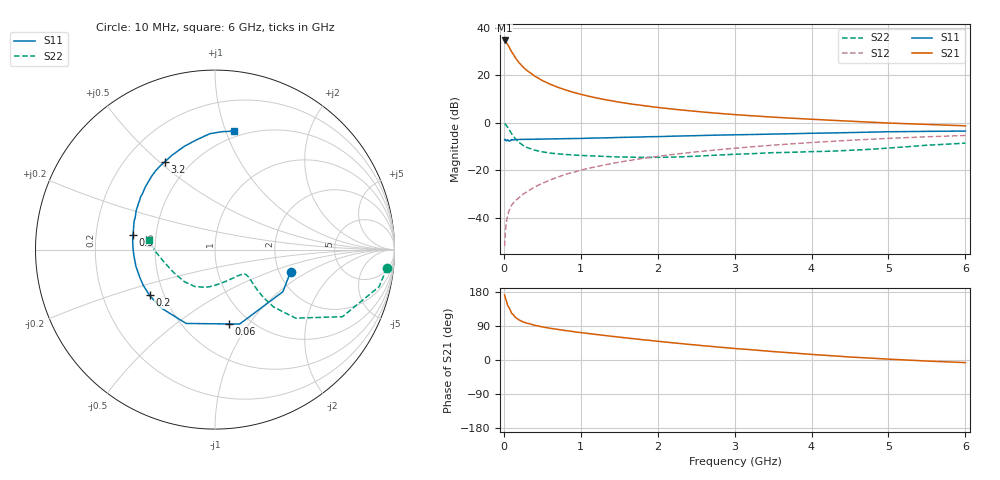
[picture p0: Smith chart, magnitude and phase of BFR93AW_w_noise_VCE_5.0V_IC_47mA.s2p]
! Infineon Technologies  Discrete & RF Semiconductors
! BFR93AW
! VCE =  5.0 V,  IC =  47 mA
! Common Emitter S-Parameters:  Jan 2017
# GHz  S  MA  R  50
!  f  S11  S21  S12  S22
! GHz  MAG  ANG  MAG  ANG  MAG  ANG  MAG  ANG
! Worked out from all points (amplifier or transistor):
!   77 points, 10 MHz to 6 GHz, reference 50 ohm
!   highest |S21| = 34.7 dB at 10 MHz (marker M1)
!   |S21| within 3 dB of that: start of sweep to 71.91 MHz
!   unconditionally stable (mu >= 1): 479.8 MHz to 2.045 GHz
!   at 130 MHz: K = 0.60, MSG = 31.0 dB, |S12| = -33.6 dB
!   at 2.2 GHz: K = 0.99, MSG = 9.6 dB, |S12| = -13.4 dB
!   at 6 GHz: K = 0.89, MSG = 2.0 dB, |S12| = -5.4 dB
!   lowest NFmin = 2.21 dB at 450 MHz
!   S11 on the Smith chart (normalised r, x): 10 MHz: 2.31, -0.70; 60 MHz: 0.80, -0.81; 200 MHz: 0.42, -0.26; 900 MHz: 0.37, +0.08; 3.2 GHz: 0.36, +0.52; 6 GHz: 0.45, +1.07
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0.01  0.439 -16.3  54.32 171.5  0.0025 80.8  0.9631 -6.1
0.02  0.4451 -31.8  53.28 163.9  0.0051 82.4  0.9376 -12.7
0.05  0.4368 -71.7  44.78 143.8  0.0115 67.3  0.8025 -27.8
0.06  0.4213 -79.4  41.81 140.8  0.0129 66.0  0.7575 -29.7
0.1  0.4418 -111.3  31.62 123.5  0.0183 62.8  0.5893 -40.4
0.15  0.4425 -132.7  23.38 112.4  0.0227 60.9  0.4568 -44.4
0.2  0.4447 -145.0  18.29 105.5  0.0265 63.1  0.3817 -44.7
0.25  0.4466 -153.4  14.97 100.5  0.0311 63.3  0.3337 -43.9
0.3  0.4467 -159.7  12.61 97.1  0.035 66.0  0.3012 -42.7
0.4  0.4502 -167.9  9.638 91.5  0.0441 68.4  0.2646 -40.7
0.5  0.4523 -174.4  7.766 87.4  0.0527 70.0  0.2433 -39.4
0.6  0.4556 -179.4  6.524 83.8  0.062 70.8  0.2299 -38.9
0.7  0.4586 176.7  5.61 80.8  0.0713 71.9  0.221 -39.0
0.9  0.4645 169.8  4.393 75.0  0.0899 71.5  0.2095 -40.9
1.1  0.4718 163.8  3.637 69.9  0.1094 71.1  0.2018 -43.9
1.5  0.4901 153.7  2.72 60.4  0.1473 69.0  0.1897 -53.5
2.1  0.5154 140.3  2.019 47.4  0.2048 64.3  0.1874 -73.9
3.1  0.5603 121.5  1.449 28.9  0.299 55.0  0.2191 -107.4
3.2  0.5639 119.7  1.413 27.4  0.3083 54.0  0.2221 -110.3
4.1  0.6035 105.1  1.163 13.4  0.3918 44.7  0.248 -136.9
5.1  0.6484 91.3  0.973 1.3  0.4752 33.6  0.3004 -169.4
6  0.6681 81.0  0.862 -6.9  0.5396 23.5  0.3718 171.4
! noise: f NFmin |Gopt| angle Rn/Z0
0.45  2.21  0.25  -178  0.17
0.9  2.51  0.3  -168  0.17
1.9  3.61  0.53  -132  0.4
2.4  4.34  0.57  -122  0.75
